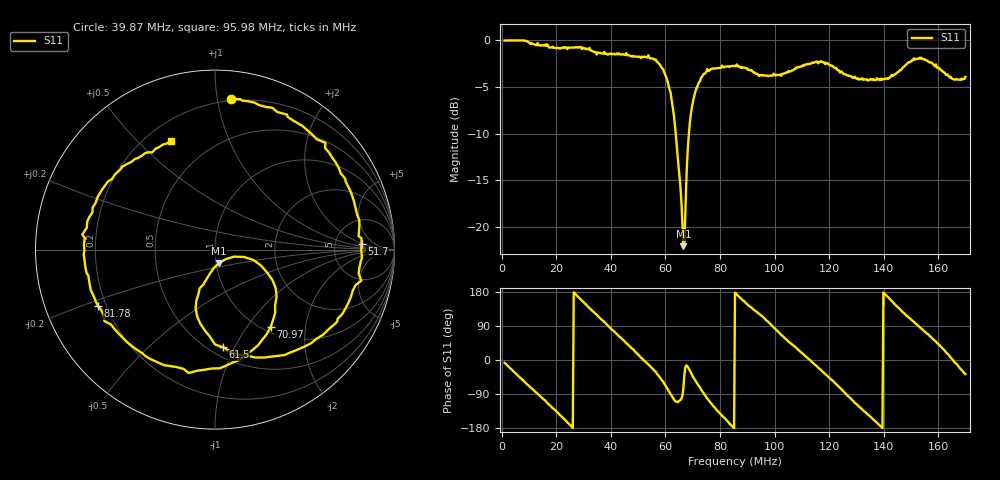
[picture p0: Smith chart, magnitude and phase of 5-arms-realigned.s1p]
! Touchstone file generated by AntScopeKit
# MHz S RI R 50
! Format: Frequency S-real S-imaginary (normalized to 50 Ohm)
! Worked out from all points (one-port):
!   501 points, 1 MHz to 170 MHz, reference 50 ohm
!   lowest |S11| = -22.1 dB at 66.57 MHz (marker M1), VSWR 1.17, Z = 51.6 - j7.88 ohm
!   |S11| at or under -10 dB: 63.75 MHz to 68.59 MHz (4.833 MHz wide, 7.3 % of centre)
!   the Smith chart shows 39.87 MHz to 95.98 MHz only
!   S11 on the Smith chart (normalised r, x): 39.87 MHz: 0.19, +1.09; 51.7 MHz: 9.62, +1.68; 61.5 MHz: 0.58, -0.90; 70.97 MHz: 1.08, -1.30; 81.78 MHz: 0.17, -0.22; 95.98 MHz: 0.30, +0.63
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1  0.9902 -0.1284
6.746  0.6828 -0.7306
11.478  0.1894 -0.9373
16.21  -0.3155 -0.8803
22.294  -0.8036 -0.4323
29.392  -0.8243 0.3561
39.87  0.0892 0.8407
43.25  0.4044 0.7396
51.7  0.8163 0.029
56.432  0.6793 -0.4041
61.502  0.0438 -0.5438
64.544  -0.0853 -0.2153
66.572  0.022 -0.0759
68.938  0.3201 -0.1695
70.966  0.3093 -0.4327
75.36  -0.1478 -0.6876
81.782  -0.6523 -0.3142
85.5  -0.7307 0.0308
95.978  -0.2436 0.6042
106.794  0.5414 0.4326
116.258  0.713 -0.2845
122.004  0.3663 -0.6154
127.75  -0.121 -0.6322
138.228  -0.6094 -0.1038
149.044  -0.2984 0.6999
154.452  0.154 0.7827
160.536  0.549 0.4482
170  0.5089 -0.3854
